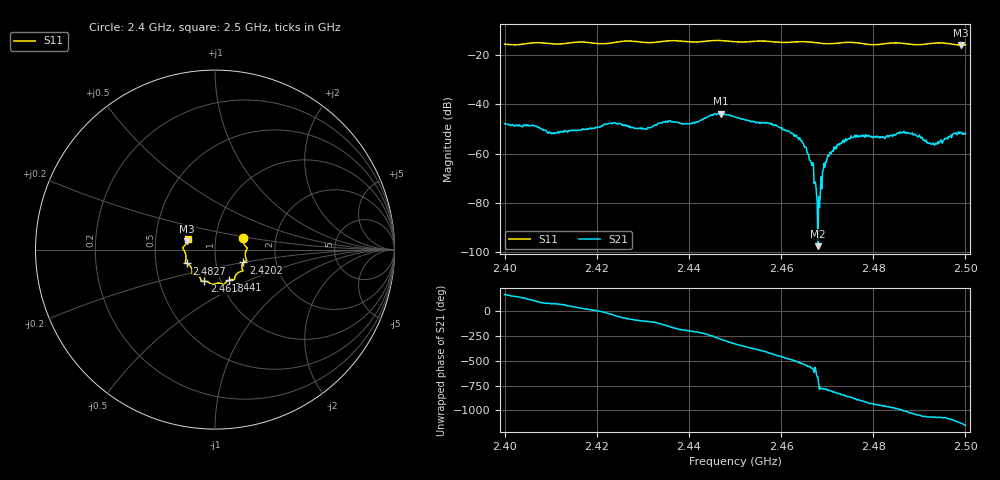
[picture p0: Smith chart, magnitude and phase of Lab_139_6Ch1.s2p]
# Hz S RI R
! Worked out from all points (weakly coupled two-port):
!   601 points, 2.4 GHz to 2.5 GHz, reference 50 ohm
!   highest |S21| = -43.69 dB at 2.447 GHz (marker M1); lowest = -97.7 dB at 2.468 GHz (marker M2)
!   lowest |S11| = -15.8 dB at 2.499 GHz (marker M3), VSWR 1.39, Z = 36.4 + j3.48 ohm
!   |S11| at or under -10 dB: start of sweep to end of sweep
!   S12 and S22 are empty: the file has one direction only
!   S11 on the Smith chart (normalised r, x): 2.4 GHz: 1.36, +0.18; 2.4202 GHz: 1.36, -0.20; 2.441 GHz: 1.10, -0.39; 2.4618 GHz: 0.84, -0.30; 2.4827 GHz: 0.72, -0.12; 2.5 GHz: 0.73, +0.09
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2.4e9  0.1584 0.0627  -0.004 0.000714  0 0  0 0
2.4105e9  0.171 -0.0111  0.000599 0.00256  0 0  0 0
2.416667e9  0.1772 -0.061  0.00253 0.00161  0 0  0 0
2.420167e9  0.1584 -0.0713  0.00342 0.000321  0 0  0 0
2.433333e9  0.1115 -0.1509  -0.0022 -0.00352  0 0  0 0
2.441e9  0.0786 -0.1697  -0.00394 0.00164  0 0  0 0
2.447e9  0.0475 -0.1946  0.00151 0.00637  0 0  0 0
2.45e9  0.0286 -0.1873  0.00481 0.00289  0 0  0 0
2.461833e9  -0.0592 -0.1754  -0.00154 -0.00239  0 0  0 0
2.4645e9  -0.075 -0.1749  -0.00176 -0.00045  0 0  0 0
2.466667e9  -0.0787 -0.1683  -0.000477 0.000319  0 0  0 0
2.468e9  -0.0821 -0.1594  7.19e-06 1.08e-05  0 0  0 0
2.468333e9  -0.0836 -0.1567  2.74e-05 -7.46e-05  0 0  0 0
2.469667e9  -0.0924 -0.1464  0.000235 -0.000646  0 0  0 0
2.472e9  -0.113 -0.1355  -0.000323 -0.0012  0 0  0 0
2.476167e9  -0.1275 -0.1297  -0.00205 -0.000673  0 0  0 0
2.482667e9  -0.1559 -0.0772  -0.00114 0.00182  0 0  0 0
2.483333e9  -0.1601 -0.0752  -0.000944 0.00211  0 0  0 0
2.488e9  -0.1615 -0.0498  0.00152 0.00205  0 0  0 0
2.493167e9  -0.1782 0.00577  0.0015 0.000245  0 0  0 0
2.499e9  -0.1555 0.0466  0.00173 -0.0021  0 0  0 0
2.5e9  -0.1524 0.0607  0.000711 -0.00245  0 0  0 0
